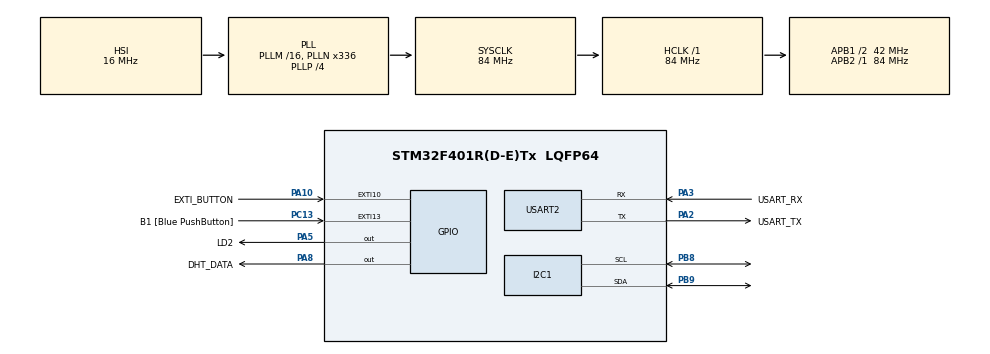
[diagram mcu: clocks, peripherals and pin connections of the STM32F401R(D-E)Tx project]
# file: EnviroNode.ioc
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Mcu.Family=STM32F4
Mcu.Name=STM32F401R(D-E)Tx
Mcu.Package=LQFP64
NVIC.EXTI15_10_IRQn=true\:0\:0\:false\:false\:true\:true\:true\:true
NVIC.PriorityGroup=NVIC_PRIORITYGROUP_4
PA10.GPIO_Label=EXTI_BUTTON
PA10.GPIO_ModeDefaultEXTI=GPIO_MODE_IT_FALLING
PA10.Signal=GPXTI10
PA13.GPIO_Label=TMS
PA13.Mode=Trace_Asynchronous_SW
PA13.Signal=SYS_JTMS-SWDIO
PA14.GPIO_Label=TCK
PA14.Mode=Trace_Asynchronous_SW
PA14.Signal=SYS_JTCK-SWCLK
PA2.GPIO_Label=USART_TX
PA2.GPIO_Mode=GPIO_MODE_AF_PP
PA2.GPIO_PuPd=GPIO_NOPULL
PA2.GPIO_Speed=GPIO_SPEED_FREQ_LOW
PA2.Mode=Asynchronous
PA2.Signal=USART2_TX
PA3.GPIO_Label=USART_RX
PA3.GPIO_Mode=GPIO_MODE_AF_PP
PA3.GPIO_PuPd=GPIO_NOPULL
PA3.GPIO_Speed=GPIO_SPEED_FREQ_LOW
PA3.Mode=Asynchronous
PA3.Signal=USART2_RX
PA5.GPIO_Label=LD2
PA5.Signal=GPIO_Output
PA8.GPIO_Label=DHT_DATA
PA8.Signal=GPIO_Output
PB3.GPIO_Label=SWO
PB3.Mode=Trace_Asynchronous_SW
PB3.Signal=SYS_JTDO-SWO
PB8.Mode=I2C
PB8.Signal=I2C1_SCL
PB9.Mode=I2C
PB9.Signal=I2C1_SDA
PC13-ANTI_TAMP.GPIO_Label=B1 [Blue PushButton]
PC13-ANTI_TAMP.GPIO_ModeDefaultEXTI=GPIO_MODE_IT_FALLING
PC13-ANTI_TAMP.GPIO_PuPd=GPIO_NOPULL
PC13-ANTI_TAMP.Signal=GPXTI13
PC14-OSC32_IN.Mode=LSE-External-Oscillator
PC14-OSC32_IN.Signal=RCC_OSC32_IN
PC15-OSC32_OUT.Mode=LSE-External-Oscillator
PC15-OSC32_OUT.Signal=RCC_OSC32_OUT
PH0\ -\ OSC_IN.Mode=HSE-External-Clock-Source
PH0\ -\ OSC_IN.Signal=RCC_OSC_IN
PH1\ -\ OSC_OUT.Mode=HSE-External-Clock-Source
PH1\ -\ OSC_OUT.Signal=RCC_OSC_OUT
ProjectManager.HeapSize=0x200
ProjectManager.StackSize=0x400
ProjectManager.TargetToolchain=CMake
RCC.48MHZClocksFreq_Value=48000000
RCC.AHBFreq_Value=84000000
RCC.APB1CLKDivider=RCC_HCLK_DIV2
RCC.APB1Freq_Value=42000000
RCC.APB1TimFreq_Value=84000000
RCC.APB2Freq_Value=84000000
RCC.APB2TimFreq_Value=84000000
RCC.CortexFreq_Value=84000000
RCC.HCLKFreq_Value=84000000
RCC.HSE_VALUE=8000000
RCC.HSI_VALUE=16000000
RCC.PLLN=336
RCC.PLLP=RCC_PLLP_DIV4
RCC.PLLQ=7
RCC.SYSCLKFreq_VALUE=84000000
RCC.SYSCLKSource=RCC_SYSCLKSOURCE_PLLCLK
RCC.VCOOutputFreq_Value=336000000
USART2.VirtualMode=VM_ASYNC
board=NUCLEO-F401RE

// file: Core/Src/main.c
/* USER CODE BEGIN Header */
/**
  ******************************************************************************
  * @file           : main.c
  * @brief          : EnviroNode main program
  ******************************************************************************
  */
/* USER CODE END Header */

#include "main.h"

/* USER CODE BEGIN Includes */
#include "ssd1306.h"
#include <stdint.h>
#include <stdio.h>
#include <string.h>
/* USER CODE END Includes */

/* USER CODE BEGIN PTD */
typedef enum
{
    DISPLAY_BOTH = 0,
    DISPLAY_TEMP,
    DISPLAY_HUMIDITY
} DisplayMode;
/* USER CODE END PTD */

/* USER CODE BEGIN PD */
#define DHT_READ_INTERVAL_MS 2200U
#define BUTTON_DEBOUNCE_MS   200U
/* USER CODE END PD */

I2C_HandleTypeDef hi2c1;
UART_HandleTypeDef huart2;

/* USER CODE BEGIN PV */
static volatile DisplayMode display_mode = DISPLAY_BOTH;
static volatile uint8_t display_dirty = 1U;
static volatile uint32_t last_button_tick = 0U;
/* USER CODE END PV */

void SystemClock_Config(void);
static void MX_GPIO_Init(void);
static void MX_USART2_UART_Init(void);
static void MX_I2C1_Init(void);

/* USER CODE BEGIN 0 */
static void DWT_Delay_Init(void)
{
    CoreDebug->DEMCR |= CoreDebug_DEMCR_TRCENA_Msk;
    DWT->CYCCNT = 0U;
    DWT->CTRL |= DWT_CTRL_CYCCNTENA_Msk;
}

static void delay_us(uint32_t us)
{
    uint32_t start = DWT->CYCCNT;
    uint32_t ticks = us * (HAL_RCC_GetHCLKFreq() / 1000000U);

    while ((DWT->CYCCNT - start) < ticks)
    {
    }
}

static void DHT_SetOutput(void)
{
    GPIO_InitTypeDef GPIO_InitStruct = {0};

    GPIO_InitStruct.Pin = DHT_DATA_Pin;
    GPIO_InitStruct.Mode = GPIO_MODE_OUTPUT_PP;
    GPIO_InitStruct.Pull = GPIO_NOPULL;
    GPIO_InitStruct.Speed = GPIO_SPEED_FREQ_LOW;

    HAL_GPIO_Init(DHT_DATA_GPIO_Port, &GPIO_InitStruct);
}

static void DHT_SetInput(void)
{
    GPIO_InitTypeDef GPIO_InitStruct = {0};

    GPIO_InitStruct.Pin = DHT_DATA_Pin;
    GPIO_InitStruct.Mode = GPIO_MODE_INPUT;
    GPIO_InitStruct.Pull = GPIO_NOPULL;

    HAL_GPIO_Init(DHT_DATA_GPIO_Port, &GPIO_InitStruct);
}

static uint8_t DHT_WaitForState(GPIO_PinState state, uint32_t timeout_us)
{
    uint32_t start = DWT->CYCCNT;
    uint32_t timeout_ticks = timeout_us * (HAL_RCC_GetHCLKFreq() / 1000000U);

    while (HAL_GPIO_ReadPin(DHT_DATA_GPIO_Port, DHT_DATA_Pin) != state)
    {
        if ((DWT->CYCCNT - start) > timeout_ticks)
        {
            return 0U;
        }
    }

    return 1U;
}

static uint8_t DHT22_Read(int16_t *temperature, uint16_t *humidity)
{
    uint8_t data[5] = {0};

    DHT_SetOutput();

    HAL_GPIO_WritePin(DHT_DATA_GPIO_Port, DHT_DATA_Pin, GPIO_PIN_RESET);
    HAL_Delay(2U);

    HAL_GPIO_WritePin(DHT_DATA_GPIO_Port, DHT_DATA_Pin, GPIO_PIN_SET);
    delay_us(30U);

    DHT_SetInput();

    /* DHT22 acknowledgement: LOW -> HIGH -> LOW. */
    if (!DHT_WaitForState(GPIO_PIN_RESET, 100U))
    {
        return 0U;
    }

    if (!DHT_WaitForState(GPIO_PIN_SET, 100U))
    {
        return 0U;
    }

    if (!DHT_WaitForState(GPIO_PIN_RESET, 100U))
    {
        return 0U;
    }

    /* Read 40 data bits. */
    for (uint8_t i = 0U; i < 40U; i++)
    {
        if (!DHT_WaitForState(GPIO_PIN_SET, 100U))
        {
            return 0U;
        }

        /* A 0 has a short HIGH pulse; a 1 has a long HIGH pulse. */
        delay_us(40U);

        if (HAL_GPIO_ReadPin(DHT_DATA_GPIO_Port, DHT_DATA_Pin) == GPIO_PIN_SET)
        {
            data[i / 8U] |= (uint8_t)(1U << (7U - (i % 8U)));
        }

        if (!DHT_WaitForState(GPIO_PIN_RESET, 100U))
        {
            return 0U;
        }
    }

    /* Fifth byte is the checksum of the first four bytes. */
    if ((uint8_t)(data[0] + data[1] + data[2] + data[3]) != data[4])
    {
        return 0U;
    }

    *humidity = ((uint16_t)data[0] << 8) | data[1];

    uint16_t raw_temperature =
        ((uint16_t)(data[2] & 0x7FU) << 8) | data[3];

    if ((data[2] & 0x80U) != 0U)
    {
        *temperature = -(int16_t)raw_temperature;
    }
    else
    {
        *temperature = (int16_t)raw_temperature;
    }

    return 1U;
}

static void UART_Write(const char *text)
{
    HAL_UART_Transmit(
        &huart2,
        (uint8_t *)text,
        (uint16_t)strlen(text),
        HAL_MAX_DELAY
    );
}

static void UART_PrintReading(int16_t temperature, uint16_t humidity)
{
    char message[100];
    int32_t t = temperature;

    if (t < 0)
    {
        t = -t;
        snprintf(
            message,
            sizeof(message),
            "Temperature: -%ld.%ld C | Humidity: %u.%u %%\r\n",
            (long)(t / 10),
            (long)(t % 10),
            humidity / 10U,
            humidity % 10U
        );
    }
    else
    {
        snprintf(
            message,
            sizeof(message),
            "Temperature: %ld.%ld C | Humidity: %u.%u %%\r\n",
            (long)(t / 10),
            (long)(t % 10),
            humidity / 10U,
            humidity % 10U
        );
    }

    UART_Write(message);
}

static void FormatTemperature(char *buffer, size_t buffer_size, int16_t temperature)
{
    int32_t t = temperature;

    if (t < 0)
    {
        t = -t;
        snprintf(buffer, buffer_size, "-%ld.%ld C", (long)(t / 10), (long)(t % 10));
    }
    else
    {
        snprintf(buffer, buffer_size, "%ld.%ld C", (long)(t / 10), (long)(t % 10));
    }
}

static void FormatHumidity(char *buffer, size_t buffer_size, uint16_t humidity)
{
    snprintf(buffer, buffer_size, "%u.%u %%", humidity / 10U, humidity % 10U);
}

static uint8_t CenteredX(const char *text, uint8_t scale)
{
    uint16_t width = (uint16_t)strlen(text) * 6U * scale;

    if (width >= SSD1306_WIDTH)
    {
        return 0U;
    }

    return (uint8_t)((SSD1306_WIDTH - width) / 2U);
}

static void Display_Render(int16_t temperature, uint16_t humidity, uint8_t have_reading)
{
    char temperature_text[20];
    char humidity_text[20];
    DisplayMode mode = display_mode;

    SSD1306_Clear();

    if (!have_reading)
    {
        SSD1306_WriteString(22U, 17U, "DHT22", 2U);
        SSD1306_WriteString(31U, 40U, "NO DATA", 1U);
        (void)SSD1306_UpdateScreen();
        return;
    }

    FormatTemperature(temperature_text, sizeof(temperature_text), temperature);
    FormatHumidity(humidity_text, sizeof(humidity_text), humidity);

    if (mode == DISPLAY_TEMP)
    {
        SSD1306_WriteString(CenteredX("TEMPERATURE", 1U), 7U, "TEMPERATURE", 1U);
        SSD1306_WriteString(CenteredX(temperature_text, 3U), 27U, temperature_text, 3U);
    }
    else if (mode == DISPLAY_HUMIDITY)
    {
        SSD1306_WriteString(CenteredX("HUMIDITY", 1U), 7U, "HUMIDITY", 1U);
        SSD1306_WriteString(CenteredX(humidity_text, 3U), 27U, humidity_text, 3U);
    }
    else
    {
        SSD1306_WriteString(0U, 0U, "TEMP", 1U);
        SSD1306_WriteString(0U, 10U, temperature_text, 2U);

        SSD1306_WriteString(0U, 34U, "HUMIDITY", 1U);
        SSD1306_WriteString(0U, 44U, humidity_text, 2U);
    }

    (void)SSD1306_UpdateScreen();
}
/* USER CODE END 0 */

int main(void)
{
    /* USER CODE BEGIN 1 */
    int16_t temperature = 0;
    uint16_t humidity = 0U;
    uint8_t have_reading = 0U;
    uint8_t oled_ok = 0U;
    uint32_t last_sensor_read = 0U;
    /* USER CODE END 1 */

    HAL_Init();

    SystemClock_Config();

    MX_GPIO_Init();
    MX_USART2_UART_Init();
    MX_I2C1_Init();

    /* USER CODE BEGIN 2 */
    DWT_Delay_Init();

    /* Leave the DHT22 data line released/high while it is idle. */
    HAL_GPIO_WritePin(DHT_DATA_GPIO_Port, DHT_DATA_Pin, GPIO_PIN_SET);
    DHT_SetInput();

    if (SSD1306_Init(&hi2c1) == HAL_OK)
    {
        oled_ok = 1U;
        SSD1306_Clear();
        SSD1306_WriteString(CenteredX("ENVIRONODE", 1U), 16U, "ENVIRONODE", 1U);
        SSD1306_WriteString(CenteredX("STARTING", 1U), 36U, "STARTING", 1U);
        (void)SSD1306_UpdateScreen();
    }
    else
    {
        UART_Write("SSD1306 init failed\r\n");
    }

    /* Give the DHT22 time after power-up before the first reading. */
    HAL_Delay(1200U);

    if (DHT22_Read(&temperature, &humidity))
    {
        have_reading = 1U;
        UART_PrintReading(temperature, humidity);
    }
    else
    {
        UART_Write("DHT22 initial read failed\r\n");
    }

    last_sensor_read = HAL_GetTick();

    if (oled_ok)
    {
        display_dirty = 0U;
        Display_Render(temperature, humidity, have_reading);
    }
    /* USER CODE END 2 */

    /* Infinite loop */
    /* USER CODE BEGIN WHILE */
    while (1)
    {
        uint32_t now = HAL_GetTick();

        if ((uint32_t)(now - last_sensor_read) >= DHT_READ_INTERVAL_MS)
        {
            int16_t new_temperature;
            uint16_t new_humidity;

            last_sensor_read = now;

            if (DHT22_Read(&new_temperature, &new_humidity))
            {
                temperature = new_temperature;
                humidity = new_humidity;
                have_reading = 1U;
                display_dirty = 1U;
                UART_PrintReading(temperature, humidity);
            }
            else
            {
                /* Keep the last good values on-screen if we already have them. */
                UART_Write("DHT22 read failed\r\n");

                if (!have_reading)
                {
                    display_dirty = 1U;
                }
            }
        }

        if (oled_ok && display_dirty)
        {
            /* Clear first so an interrupt during drawing can set it again. */
            display_dirty = 0U;
            Display_Render(temperature, humidity, have_reading);
        }

        HAL_Delay(5U);
        /* USER CODE END WHILE */

    }
}

void SystemClock_Config(void)
{
    RCC_OscInitTypeDef RCC_OscInitStruct = {0};
    RCC_ClkInitTypeDef RCC_ClkInitStruct = {0};

    __HAL_RCC_PWR_CLK_ENABLE();
    __HAL_PWR_VOLTAGESCALING_CONFIG(PWR_REGULATOR_VOLTAGE_SCALE2);

    RCC_OscInitStruct.OscillatorType = RCC_OSCILLATORTYPE_HSI;
    RCC_OscInitStruct.HSIState = RCC_HSI_ON;
    RCC_OscInitStruct.HSICalibrationValue = RCC_HSICALIBRATION_DEFAULT;
    RCC_OscInitStruct.PLL.PLLState = RCC_PLL_ON;
    RCC_OscInitStruct.PLL.PLLSource = RCC_PLLSOURCE_HSI;
    RCC_OscInitStruct.PLL.PLLM = 16;
    RCC_OscInitStruct.PLL.PLLN = 336;
    RCC_OscInitStruct.PLL.PLLP = RCC_PLLP_DIV4;
    RCC_OscInitStruct.PLL.PLLQ = 7;

    if (HAL_RCC_OscConfig(&RCC_OscInitStruct) != HAL_OK)
    {
        Error_Handler();
    }

    RCC_ClkInitStruct.ClockType = RCC_CLOCKTYPE_HCLK | RCC_CLOCKTYPE_SYSCLK |
                                  RCC_CLOCKTYPE_PCLK1 | RCC_CLOCKTYPE_PCLK2;
    RCC_ClkInitStruct.SYSCLKSource = RCC_SYSCLKSOURCE_PLLCLK;
    RCC_ClkInitStruct.AHBCLKDivider = RCC_SYSCLK_DIV1;
    RCC_ClkInitStruct.APB1CLKDivider = RCC_HCLK_DIV2;
    RCC_ClkInitStruct.APB2CLKDivider = RCC_HCLK_DIV1;

    if (HAL_RCC_ClockConfig(&RCC_ClkInitStruct, FLASH_LATENCY_2) != HAL_OK)
    {
        Error_Handler();
    }
}

static void MX_I2C1_Init(void)
{

    hi2c1.Instance = I2C1;
    hi2c1.Init.ClockSpeed = 100000;
    hi2c1.Init.DutyCycle = I2C_DUTYCYCLE_2;
    hi2c1.Init.OwnAddress1 = 0;
    hi2c1.Init.AddressingMode = I2C_ADDRESSINGMODE_7BIT;
    hi2c1.Init.DualAddressMode = I2C_DUALADDRESS_DISABLE;
    hi2c1.Init.OwnAddress2 = 0;
    hi2c1.Init.GeneralCallMode = I2C_GENERALCALL_DISABLE;
    hi2c1.Init.NoStretchMode = I2C_NOSTRETCH_DISABLE;

    if (HAL_I2C_Init(&hi2c1) != HAL_OK)
    {
        Error_Handler();
    }

}

static void MX_USART2_UART_Init(void)
{

    huart2.Instance = USART2;
    huart2.Init.BaudRate = 115200;
    huart2.Init.WordLength = UART_WORDLENGTH_8B;
    huart2.Init.StopBits = UART_STOPBITS_1;
    huart2.Init.Parity = UART_PARITY_NONE;
    huart2.Init.Mode = UART_MODE_TX_RX;
    huart2.Init.HwFlowCtl = UART_HWCONTROL_NONE;
    huart2.Init.OverSampling = UART_OVERSAMPLING_16;

    if (HAL_UART_Init(&huart2) != HAL_OK)
    {
        Error_Handler();
    }

}

static void MX_GPIO_Init(void)
{
    GPIO_InitTypeDef GPIO_InitStruct = {0};

    __HAL_RCC_GPIOC_CLK_ENABLE();
    __HAL_RCC_GPIOH_CLK_ENABLE();
    __HAL_RCC_GPIOA_CLK_ENABLE();
    __HAL_RCC_GPIOB_CLK_ENABLE();

    HAL_GPIO_WritePin(GPIOA, LD2_Pin | DHT_DATA_Pin, GPIO_PIN_RESET);

    GPIO_InitStruct.Pin = B1_Pin;
    GPIO_InitStruct.Mode = GPIO_MODE_IT_FALLING;
    GPIO_InitStruct.Pull = GPIO_NOPULL;
    HAL_GPIO_Init(B1_GPIO_Port, &GPIO_InitStruct);

    GPIO_InitStruct.Pin = LD2_Pin | DHT_DATA_Pin;
    GPIO_InitStruct.Mode = GPIO_MODE_OUTPUT_PP;
    GPIO_InitStruct.Pull = GPIO_NOPULL;
    GPIO_InitStruct.Speed = GPIO_SPEED_FREQ_LOW;
    HAL_GPIO_Init(GPIOA, &GPIO_InitStruct);

    GPIO_InitStruct.Pin = EXTI_BUTTON_Pin;
    GPIO_InitStruct.Mode = GPIO_MODE_IT_FALLING;
    GPIO_InitStruct.Pull = GPIO_NOPULL;
    HAL_GPIO_Init(EXTI_BUTTON_GPIO_Port, &GPIO_InitStruct);

    HAL_NVIC_SetPriority(EXTI15_10_IRQn, 0, 0);
    HAL_NVIC_EnableIRQ(EXTI15_10_IRQn);

}

/* USER CODE BEGIN 4 */
void HAL_GPIO_EXTI_Callback(uint16_t GPIO_Pin)
{
    if (GPIO_Pin == B1_Pin)
    {
        HAL_GPIO_TogglePin(LD2_GPIO_Port, LD2_Pin);
    }
    else if (GPIO_Pin == EXTI_BUTTON_Pin)
    {
        uint32_t now = HAL_GetTick();

        if ((uint32_t)(now - last_button_tick) >= BUTTON_DEBOUNCE_MS)
        {
            last_button_tick = now;

            if (display_mode == DISPLAY_BOTH)
            {
                display_mode = DISPLAY_TEMP;
            }
            else if (display_mode == DISPLAY_TEMP)
            {
                display_mode = DISPLAY_HUMIDITY;
            }
            else
            {
                display_mode = DISPLAY_BOTH;
            }

            display_dirty = 1U;
        }
    }
}
/* USER CODE END 4 */

void Error_Handler(void)
{
    __disable_irq();
    while (1)
    {
    }
}

#ifdef USE_FULL_ASSERT
/**
  * @brief  Reports the name of the source file and the source line number
  *         where the assert_param error has occurred.
  * @param  file: pointer to the source file name
  * @param  line: source line number
  * @retval None
  */
void assert_failed(uint8_t *file, uint32_t line)
{
    /* USER CODE BEGIN 6 */
    (void)file;
    (void)line;
    /* USER CODE END 6 */
}
#endif /* USE_FULL_ASSERT */
